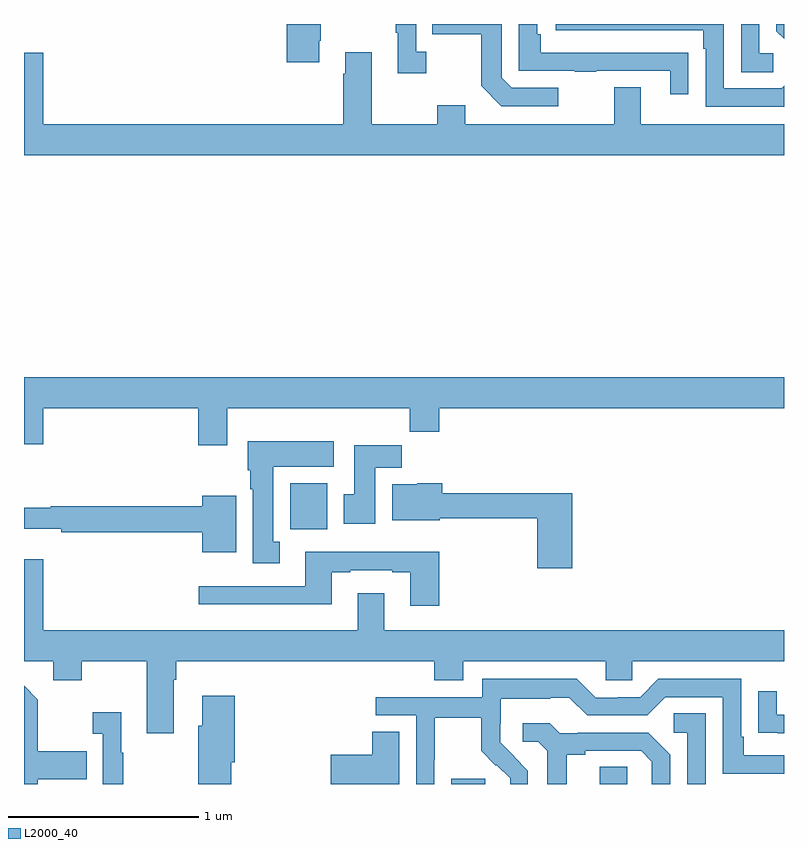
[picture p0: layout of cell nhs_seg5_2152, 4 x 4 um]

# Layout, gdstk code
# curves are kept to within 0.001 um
import gdstk
lib = gdstk.Library(unit=1e-6, precision=1e-09)
def R(c, l, rs):  # rectangles x0, y0, x1, y1
    for r in rs: c.add(gdstk.rectangle(r[:2], r[2:], *l))
def P(c, l, *ps):  # polygons
    for p in ps: c.add(gdstk.Polygon(p, *l))
L2000_40 = (2000, 40)

nhs_seg5_2152 = lib.new_cell('nhs_seg5_2152')
R(nhs_seg5_2152, L2000_40, [(239.249,838.799,239.428,838.827), (240.029,838.799,240.174,838.889), (238.4,840.14,238.597,840.382)])
P(nhs_seg5_2152, L2000_40, [(240.497,842.648),(240.395,842.648),(240.395,842.649),(239.72,842.649),(239.72,842.746),(239.7,842.746),(239.7,842.799),(239.604,842.799),(239.604,842.553),(239.899,842.553),(239.899,842.548),(240.011,842.548),(240.011,842.553),(240.401,842.553),(240.401,842.43),(240.497,842.43)],
  [(241,842.799),(240.96,842.799),(240.96,842.762),(241,842.722)],
  [(238.555,842.71),(238.563,842.71),(238.563,842.799),(238.382,842.799),(238.382,842.598),(238.555,842.598)],
  [(239.812,842.463),(239.568,842.463),(239.514,842.517),(239.514,842.799),(239.149,842.799),(239.149,842.746),(239.406,842.746),(239.406,842.473),(239.511,842.367),(239.812,842.367)],
  [(239.116,842.654),(239.064,842.654),(239.064,842.799),(238.956,842.799),(238.956,842.753),(238.967,842.753),(238.967,842.541),(239.116,842.541)],
  [(240.943,842.646),(240.87,842.646),(240.87,842.799),(240.774,842.799),(240.774,842.545),(240.943,842.545)],
  [(241,842.473),(240.987,842.46),(240.684,842.46),(240.684,842.799),(239.799,842.799),(239.799,842.766),(240.575,842.766),(240.575,842.669),(240.588,842.669),(240.588,842.364),(241,842.364)],
  [(238.691,842.65),(238.691,842.537),(238.679,842.537),(238.679,842.272),(237.1,842.272),(237.1,842.647),(237,842.647),(237,842.108),(241,842.108),(241,842.272),(240.247,842.272),(240.247,842.467),(240.107,842.467),(240.107,842.272),(239.323,842.272),(239.323,842.371),(239.176,842.371),(239.176,842.272),(238.831,842.272),(238.831,842.65)],
  [(238.069,840.776),(239.029,840.776),(239.029,840.652),(239.186,840.652),(239.186,840.776),(241,840.776),(241,840.94),(237,840.94),(237,840.588),(237.1,840.588),(237.1,840.776),(237.917,840.776),(237.917,840.582),(238.069,840.582)],
  [(238.345,840.074),(238.312,840.074),(238.312,840.47),(238.63,840.47),(238.63,840.604),(238.178,840.604),(238.178,840.45),(238.19,840.45),(238.19,840.35),(238.205,840.35),(238.205,839.961),(238.345,839.961)],
  [(238.849,840.464),(238.988,840.464),(238.988,840.583),(238.739,840.583),(238.739,840.324),(238.682,840.324),(238.682,840.168),(238.849,840.168)],
  [(239.885,840.328),(239.201,840.328),(239.201,840.382),(239.07,840.382),(239.07,840.376),(238.937,840.376),(238.937,840.188),(239.188,840.188),(239.188,840.199),(239.702,840.199),(239.702,839.934),(239.885,839.934)],
  [(238.117,840.316),(237.938,840.316),(237.938,840.26),(237.142,840.26),(237.142,840.253),(237,840.253),(237,840.143),(237.196,840.143),(237.196,840.124),(237.938,840.124),(237.938,840.02),(238.117,840.02)],
  [(239.186,840.022),(238.481,840.022),(238.481,839.841),(237.921,839.841),(237.921,839.744),(238.621,839.744),(238.621,839.913),(238.717,839.913),(238.717,839.925),(238.937,839.925),(238.937,839.913),(239.033,839.913),(239.033,839.736),(239.186,839.736)],
  [(237.787,839.348),(237.8,839.348),(237.8,839.444),(239.159,839.444),(239.159,839.345),(239.311,839.345),(239.311,839.444),(240.063,839.444),(240.063,839.346),(240.201,839.346),(240.201,839.444),(241,839.444),(241,839.608),(238.897,839.608),(238.897,839.803),(238.757,839.803),(238.757,839.608),(237.1,839.608),(237.1,839.983),(237,839.983),(237,839.444),(237.155,839.444),(237.155,839.345),(237.303,839.345),(237.303,839.444),(237.647,839.444),(237.647,839.067),(237.787,839.067)],
  [(239.16,838.924),(239.163,838.924),(239.163,839.148),(239.407,839.148),(239.407,838.973),(239.484,838.896),(239.487,838.899),(239.558,838.829),(239.558,838.799),(239.652,838.799),(239.652,838.87),(239.506,839.018),(239.506,839.115),(239.508,839.115),(239.508,839.249),(239.771,839.249),(239.771,839.253),(239.871,839.253),(239.964,839.16),(240.279,839.16),(240.375,839.256),(240.678,839.256),(240.678,838.854),(241,838.854),(241,838.95),(240.787,838.95),(240.787,839.047),(240.774,839.047),(240.774,839.352),(240.339,839.352),(240.243,839.256),(240.125,839.256),(240.125,839.253),(240.009,839.253),(239.909,839.353),(239.412,839.353),(239.412,839.256),(238.851,839.256),(238.851,839.16),(239.064,839.16),(239.064,838.799),(239.16,838.799)],
  [(237.073,838.823),(237.329,838.823),(237.329,838.971),(237.073,838.971),(237.073,839.243),(237,839.316),(237,838.799),(237.073,838.799)],
  [(241,839.163),(240.961,839.163),(240.961,839.287),(240.865,839.287),(240.865,839.068),(240.967,839.068),(240.967,839.067),(241,839.067)],
  [(238.091,838.914),(238.109,838.914),(238.109,839.263),(237.938,839.263),(237.938,839.106),(237.916,839.106),(237.916,838.799),(238.091,838.799)],
  [(237.523,838.963),(237.511,838.963),(237.511,839.176),(237.363,839.176),(237.363,839.063),(237.414,839.063),(237.414,838.799),(237.523,838.799)],
  [(240.588,839.171),(240.42,839.171),(240.42,839.07),(240.492,839.07),(240.492,838.799),(240.588,838.799)],
  [(239.857,838.952),(239.953,838.952),(239.953,838.974),(240.248,838.974),(240.305,838.917),(240.305,838.799),(240.402,838.799),(240.402,838.954),(240.286,839.07),(239.914,839.07),(239.914,839.067),(239.82,839.067),(239.768,839.119),(239.625,839.119),(239.625,839.022),(239.706,839.022),(239.753,838.975),(239.753,838.799),(239.857,838.799)],
  [(238.975,839.075),(238.832,839.075),(238.832,838.952),(238.614,838.952),(238.614,838.799),(238.975,838.799)])

lib.write_gds('nhs_seg5_2152.gds')
